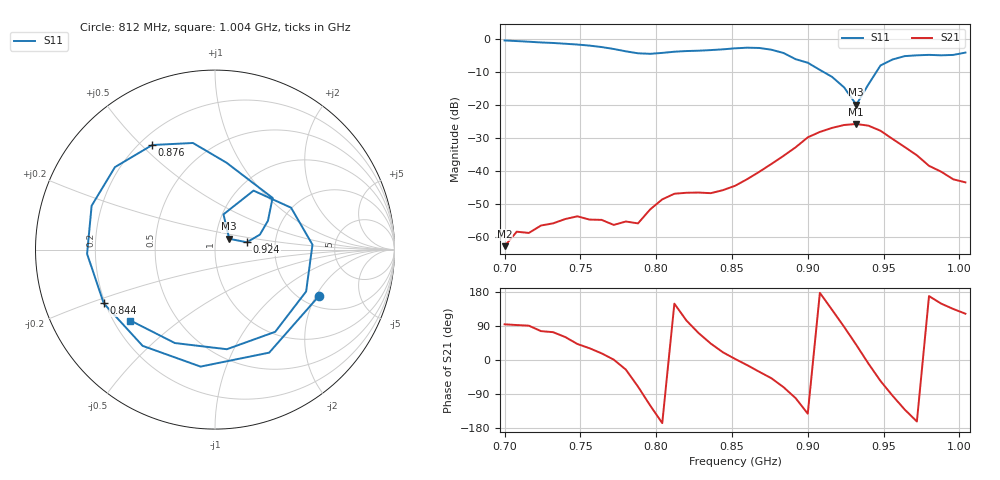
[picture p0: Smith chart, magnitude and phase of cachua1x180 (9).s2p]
# Hz S RI R 50
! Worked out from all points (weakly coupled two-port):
!   39 points, 700 MHz to 1.004 GHz, reference 50 ohm
!   highest |S21| = -25.88 dB at 932 MHz (marker M1); lowest = -62.9 dB at 700 MHz (marker M2)
!   lowest |S11| = -20.0 dB at 932 MHz (marker M3), VSWR 1.22, Z = 58.2 + j7.07 ohm
!   |S11| at or under -10 dB: 910 MHz to 945.4 MHz (35.4 MHz wide, 3.82 % of centre)
!   S12 and S22 are empty: the file has one direction only
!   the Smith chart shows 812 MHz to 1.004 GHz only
!   S11 on the Smith chart (normalised r, x): 812 MHz: 2.44, -2.12; 844 MHz: 0.19, -0.22; 876 MHz: 0.25, +0.54; 924 MHz: 1.43, +0.12; 1.004 GHz: 0.27, -0.34
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7e8  0.7568 0.5557  -5.16e-05 0.000712  0 0  0 0
7.24e8  0.8407 -0.2448  0.000351 0.00143  0 0  0 0
7.4e8  0.4572 -0.7013  0.000904 0.0016  0 0  0 0
7.56e8  -0.1901 -0.7611  0.00155 0.000932  0 0  0 0
7.72e8  -0.6659 -0.2067  0.0015 2.57e-05  0 0  0 0
7.8e8  -0.6042 0.2171  0.00153 -0.000725  0 0  0 0
7.88e8  -0.2662 0.5374  0.000538 -0.00149  0 0  0 0
7.96e8  0.2254 0.5441  -0.00128 -0.00223  0 0  0 0
8.04e8  0.5728 0.2044  -0.00356 -0.000853  0 0  0 0
8.12e8  0.5782 -0.2596  -0.0038 0.00232  0 0  0 0
8.28e8  -0.0805 -0.6518  0.00151 0.00439  0 0  0 0
8.44e8  -0.6198 -0.2995  0.00473 0.00176  0 0  0 0
8.52e8  -0.7127 -0.0238  0.00586 0.000295  0 0  0 0
8.76e8  -0.3496 0.5827  0.00841 -0.00938  0 0  0 0
9e8  0.3209 0.2881  -0.025 -0.0198  0 0  0 0
9.08e8  0.295 0.1607  -0.0385 0.00187  0 0  0 0
9.24e8  0.1776 0.0408  0.00223 0.049  0 0  0 0
9.32e8  0.0795 0.0601  0.0389 0.0327  0 0  0 0
9.56e8  0.4238 0.2334  -0.00239 -0.03  0 0  0 0
9.72e8  0.5076 -0.2334  -0.0162 -0.00518  0 0  0 0
9.88e8  0.0659 -0.5551  -0.00823 0.00498  0 0  0 0
1.004e9  -0.471 -0.3953  -0.00353 0.00561  0 0  0 0
